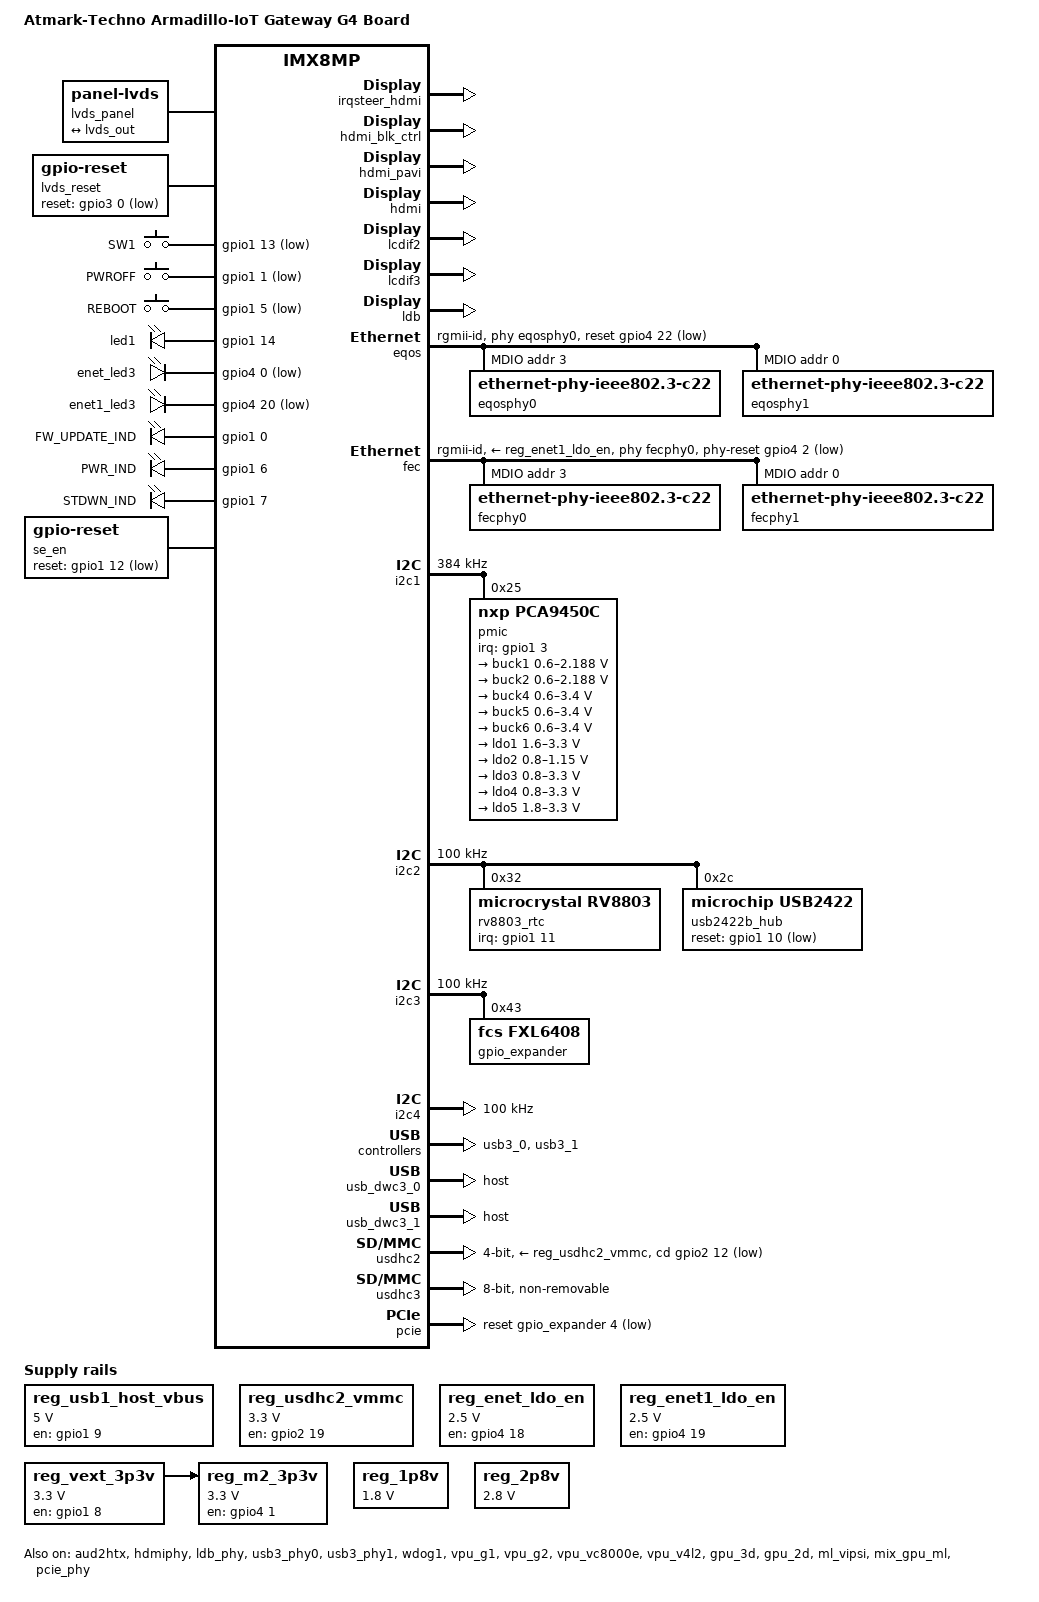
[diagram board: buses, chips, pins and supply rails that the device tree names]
// SPDX-License-Identifier: (GPL-2.0 OR MIT)
/*
 * Copyright (C) 2021 Atmark Techno, Inc. All Rights Reserved.
 */

/dts-v1/;

#include <dt-bindings/usb/pd.h>
#include <dt-bindings/net/micrel-ksz9131.h>
#include "imx8mp.dtsi"

#include "armadillo_x2-default-console.dtsi"

/ {
	model = "Atmark-Techno Armadillo-IoT Gateway G4 Board";
	compatible = "atmark,yakushima-es1", "fsl,imx8mp";

	aliases {
		rtc0 = &rv8803_rtc;
		rtc1 = &snvs_rtc;
	};

	reg_usb1_host_vbus: regulator-usb1-vbus {
		compatible = "regulator-fixed";
		regulator-name = "usb1_host_vbus";
		pinctrl-names = "default";
		pinctrl-0 = <&pinctrl_usb1_vbus>;
		regulator-min-microvolt = <5000000>;
		regulator-max-microvolt = <5000000>;
		gpio = <&gpio1 9 GPIO_ACTIVE_HIGH>;
		enable-active-high;
		regulator-always-on;
	};

	reg_usdhc2_vmmc: regulator-usdhc2 {
		compatible = "regulator-fixed";
		pinctrl-names = "default";
		pinctrl-0 = <&pinctrl_reg_usdhc2_vmmc>;
		regulator-name = "VSD_3V3";
		regulator-min-microvolt = <3300000>;
		regulator-max-microvolt = <3300000>;
		// ??? voltage-ranges = <1800 1800 3300 3300>;
		gpio = <&gpio2 19 GPIO_ACTIVE_HIGH>;
		enable-active-high;
		regulator-always-on;
		off-on-delay-us = <100000>;
	};

	reg_enet_ldo_en: regulator-enet-ldo-en {
		compatible = "regulator-fixed";
		pinctrl-names = "default";
		pinctrl-0 = <&pinctrl_reg_enet_ldo_en>;
		regulator-name = "ENET_LDO_EN";
		/* One GPIO controls three regulators(1.2V, 1.8V, 2.5V) */
		regulator-min-microvolt = <2500000>;
		regulator-max-microvolt = <2500000>;
		gpio = <&gpio4 18 GPIO_ACTIVE_HIGH>;
		enable-active-high;
		regulator-always-on;
	};

	reg_enet1_ldo_en: regulator-enet1-ldo-en {
		compatible = "regulator-fixed";
		pinctrl-names = "default";
		pinctrl-0 = <&pinctrl_reg_enet1_ldo_en>;
		regulator-name = "ENET1_LDO_EN";
		/* One GPIO controls three regulators(1.2V, 1.8V, 2.5V) */
		regulator-min-microvolt = <2500000>;
		regulator-max-microvolt = <2500000>;
		startup-delay-us = <100000>;
		gpio = <&gpio4 19 GPIO_ACTIVE_HIGH>;
		enable-active-high;
	};

	/* use HDMI(CEC), MIPI-CSI and M.2 */
	reg_vext_3p3v: regulator-vext-3p3v {
		compatible = "regulator-fixed";
		pinctrl-names = "default";
		pinctrl-0 = <&pinctrl_vext_3p3v>;
		regulator-name = "VEXT_3P3V";
		regulator-min-microvolt = <3300000>;
		regulator-max-microvolt = <3300000>;
		gpio = <&gpio1 8 GPIO_ACTIVE_HIGH>;
		enable-active-high;
		regulator-always-on;
	};

	reg_1p8v: regulator-1p8v {
		compatible = "regulator-fixed";
		regulator-name = "1P8V";
		regulator-min-microvolt = <1800000>;
		regulator-max-microvolt = <1800000>;
		regulator-always-on;
	};

	reg_2p8v: regulator-2p8v {
		compatible = "regulator-fixed";
		regulator-name = "2P8V";
		regulator-min-microvolt = <2800000>;
		regulator-max-microvolt = <2800000>;
		regulator-always-on;
	};

	reg_m2_3p3v: regulator-m2-3p3v {
		compatible = "regulator-fixed";
		regulator-name = "M2_3P3V";
		pinctrl-names = "default";
		pinctrl-0 = <&pinctrl_m2_3p3v>;
		regulator-min-microvolt = <3300000>;
		regulator-max-microvolt = <3300000>;
		gpio = <&gpio4 1 GPIO_ACTIVE_HIGH>;
		vin-supply = <&reg_vext_3p3v>;
		enable-active-high;
		regulator-always-on;
	};

	sound-hdmi {
		compatible = "fsl,imx-audio-cdnhdmi";
		model = "audio-hdmi";
		audio-cpu = <&aud2htx>;
		hdmi-out;
		constraint-rate = <44100>,
				<88200>,
				<176400>,
				<32000>,
				<48000>,
				<96000>,
				<192000>;
		status = "okay";
	};

	lvds_panel: lvds-panel {
		compatible = "panel-lvds";

		data-mapping = "vesa-24";
		width-mm = <226>;
		height-mm = <128>;

		panel-timing {
			/* NL10276BC24-21 */
			clock-frequency = <65000000>;
			hactive = <1024>;
			vactive = <768>;
			hfront-porch = <160>;
			hsync-len = <136>;
			hback-porch = <24>;
			vfront-porch = <3>;
			vsync-len = <6>;
			vback-porch = <29>;
			de-active = <1>;
		};

		port {
			panel_lvds_in: endpoint {
				remote-endpoint = <&lvds_out>;
			};
		};
	};

	lvds_reset: lvds-reset {
		compatible = "gpio-reset";
		pinctrl-names = "default";
		pinctrl-0 = <&pinctrl_lvds_reset>;
		reset-gpios = <&gpio3 0 GPIO_ACTIVE_LOW>;
		reset-delay-us = <50>;
		reset-on-init;
		#reset-cells = <0>;
	};

	gpio-keys {
		compatible = "gpio-keys";
		pinctrl-names = "default";
		pinctrl-0 = <&pinctrl_gpio_keys>;

		gpio_keys_sw1: sw1 {
			label = "SW1";
			gpios = <&gpio1 13 GPIO_ACTIVE_LOW>;
			linux,code = <KEY_PROG1>;
		};

		pwroff {
			label = "PWROFF";
			gpios = <&gpio1 1 GPIO_ACTIVE_LOW>;
			linux,code = <KEY_POWER>;
		};

		reboot {
			label = "REBOOT";
			gpios = <&gpio1 5 GPIO_ACTIVE_LOW>;
			linux,code = <KEY_RESTART>;
		};
	};

	leds {
		compatible = "gpio-leds";
		pinctrl-names = "default";
		pinctrl-0 = <&pinctrl_gpio_leds>;

		led1 {
			label = "led1";
			gpios = <&gpio1 14 GPIO_ACTIVE_HIGH>;
			default-state = "on";
		};

		enet_led3 {
			label = "enet_led3";
			gpios = <&gpio4 0 GPIO_ACTIVE_LOW>;
			linux,default-trigger = "stmmac-1:03:1Gbps";
		};

		enet1_led3 {
			label = "enet1_led3";
			gpios = <&gpio4 20 GPIO_ACTIVE_LOW>;
			linux,default-trigger = "30be0000.ethernet-1:03:1Gbps";
		};

		fw_update_ind {
			label = "FW_UPDATE_IND";
			gpios = <&gpio1 0 GPIO_ACTIVE_HIGH>;
		};

		pwr_ind {
			label = "PWR_IND";
			gpios = <&gpio1 6 GPIO_ACTIVE_HIGH>;
			default-state = "on";
		};

		stdwn_ind {
			label = "STDWN_IND";
			gpios = <&gpio1 7 GPIO_ACTIVE_HIGH>;
		};
	};

	resmem: reserved-memory {
		linux,cma {
			size = <0 0x40000000>;
			alloc-ranges = <0 0x40000000 0 0xbfffffff>;
		};
	};

	moal-params {
		host_mlme = <0x1>;
		// disable power savings
		ps_mode = <0x2>;
		auto_ds = <0x2>;
		// disable wifi direct, untested
		drv_mode = <0x3>;
		// disable mac-1 to fit power budget
		mac-1 {
			drv_mode = <0x0>;
		};

	};

	se_en: se-enable {
		compatible = "gpio-reset";
		pinctrl-names = "default";
		pinctrl-0 = <&pinctrl_se_enable>;
		reset-gpios = <&gpio1 12 GPIO_ACTIVE_LOW>;
		reset-assert-in-suspend;
	};
};

&aud2htx {
	status = "okay";
};

&irqsteer_hdmi {
	status = "okay";
};

&hdmi_blk_ctrl {
	status = "okay";
};

&hdmi_pavi {
	status = "okay";
};

&hdmi {
	status = "okay";
};

&hdmiphy {
	status = "okay";
};

&lcdif2 {
	status = "okay";
};

&lcdif3 {
	status = "okay";

	thres-low  = <1 2>;		/* (FIFO * 1 / 2) */
	thres-high = <3 4>;		/* (FIFO * 3 / 4) */
};

&ldb {
	status = "okay";

	lvds-channel@0 {
		fsl,data-mapping = "spwg";
		fsl,data-width = <24>;
		status = "okay";
		/delete-node/ port@1;

		port@1 {
			reg = <1>;

			lvds_out: endpoint {
				remote-endpoint = <&panel_lvds_in>;
			};
		};
	};
};

&ldb_phy {
	status = "okay";
};

&eqos {
	pinctrl-names = "default", "sleep";
	pinctrl-0 = <&pinctrl_eqos>;
	pinctrl-1 = <&pinctrl_eqos_sleep>;
	phy-mode = "rgmii-id";
	phy-handle = <&eqosphy0>;
	snps,reset-gpio = <&gpio4 22 GPIO_ACTIVE_LOW>;
	snps,reset-active-low;
	snps,reset-delays-us = <0 15000 150000>; // hold reset 15ms and wait 150ms after reset for reinit
	st,disable_dma_vlhash = <1>;
	status = "okay";

	mdio {
		compatible = "snps,dwmac-mdio";
		#address-cells = <1>;
		#size-cells = <0>;
		eqosphy0: eqos-phy@3 {
			compatible = "ethernet-phy-ieee802.3-c22";
			eee-broken-1000t;
			eee-broken-100tx;
			reg = <3>;
			micrel,ksz9031-led1-mode = <KSZ9131_LINK_ACTIVITY>;
			micrel,ksz9031-led2-mode = <KSZ9131_LINK100>;
		};

		eqosphy1: eqos-phy@0 {
			compatible = "ethernet-phy-ieee802.3-c22";
			eee-broken-1000t;
			eee-broken-100tx;
			reg = <0>;

			/* marvell,reg-init = <reg-page reg mask value>; */
			marvell,reg-init =
				<3 16 0xff00 0x73>,
				<3 17 0xfff0 0xa>,
				<18 20 0xfff8 0x0>;
		};
	};
};

&fec {
	pinctrl-names = "default", "sleep";
	pinctrl-0 = <&pinctrl_fec>;
	pinctrl-1 = <&pinctrl_fec_sleep>;
	phy-mode = "rgmii-id";
	phy-handle = <&fecphy0>;
	phy-supply = <&reg_enet1_ldo_en>;
	fsl,magic-packet;
	phy-reset-gpios = <&gpio4 2 GPIO_ACTIVE_LOW>;
	phy-reset-duration = <15>;
	phy-reset-post-delay = <150>;
	status = "okay";

	mdio {
		#address-cells = <1>;
		#size-cells = <0>;

		fecphy0: fec-phy@3 {
			compatible = "ethernet-phy-ieee802.3-c22";
			reg = <3>;
			micrel,ksz9031-led1-mode = <KSZ9131_LINK_ACTIVITY>;
			micrel,ksz9031-led2-mode = <KSZ9131_LINK100>;
		};

		fecphy1: fec-phy@0 {
			compatible = "ethernet-phy-ieee802.3-c22";
			reg = <0>;

			/* marvell,reg-init = <reg-page reg mask value>; */
			marvell,reg-init =
				<3 16 0xff00 0x73>,
				<3 17 0xfff0 0xa>,
				<18 20 0xfff8 0x0>;
		};
	};
};

&i2c1 {
	clock-frequency = <384000>;
	pinctrl-names = "default";
	pinctrl-0 = <&pinctrl_i2c1>;
	status = "okay";

	pmic: pca9450@25 {
		reg = <0x25>;
		compatible = "nxp,pca9450c";
		/* PMIC PCA9450 PMIC_nINT GPIO1_IO3 */
		pinctrl-0 = <&pinctrl_pmic>;
		interrupt-parent = <&gpio1>;
		interrupts = <3 GPIO_ACTIVE_LOW>;

		regulators {
			buck1: BUCK1 {
				regulator-name = "BUCK1";
				regulator-min-microvolt = <600000>;
				regulator-max-microvolt = <2187500>;
				regulator-boot-on;
				regulator-always-on;
				regulator-ramp-delay = <3125>;
			};

			buck2: BUCK2 {
				regulator-name = "BUCK2";
				regulator-min-microvolt = <600000>;
				regulator-max-microvolt = <2187500>;
				regulator-boot-on;
				regulator-always-on;
				regulator-ramp-delay = <3125>;
				nxp,dvs-run-voltage = <950000>;
				nxp,dvs-standby-voltage = <850000>;
			};

			buck4: BUCK4 {
				regulator-name = "BUCK4";
				regulator-min-microvolt = <600000>;
				regulator-max-microvolt = <3400000>;
				regulator-boot-on;
				regulator-always-on;
			};

			buck5: BUCK5 {
				regulator-name = "BUCK5";
				regulator-min-microvolt = <600000>;
				regulator-max-microvolt = <3400000>;
				regulator-boot-on;
				regulator-always-on;
			};

			buck6: BUCK6 {
				regulator-name = "BUCK6";
				regulator-min-microvolt = <600000>;
				regulator-max-microvolt = <3400000>;
				regulator-boot-on;
				regulator-always-on;
			};

			ldo1: LDO1 {
				regulator-name = "LDO1";
				regulator-min-microvolt = <1600000>;
				regulator-max-microvolt = <3300000>;
				regulator-boot-on;
				regulator-always-on;
			};

			ldo2: LDO2 {
				regulator-name = "LDO2";
				regulator-min-microvolt = <800000>;
				regulator-max-microvolt = <1150000>;
				regulator-boot-on;
				regulator-always-on;
			};

			ldo3: LDO3 {
				regulator-name = "LDO3";
				regulator-min-microvolt = <800000>;
				regulator-max-microvolt = <3300000>;
				regulator-boot-on;
				regulator-always-on;
			};

			ldo4: LDO4 {
				regulator-name = "LDO4";
				regulator-min-microvolt = <800000>;
				regulator-max-microvolt = <3300000>;
				regulator-boot-on;
				regulator-always-on;
			};

			ldo5: LDO5 {
				regulator-name = "LDO5";
				regulator-min-microvolt = <1800000>;
				regulator-max-microvolt = <3300000>;
				regulator-boot-on;
				regulator-always-on;
			};
		};
	};
};

&i2c2 {
	clock-frequency = <100000>;
	pinctrl-names = "default";
	pinctrl-0 = <&pinctrl_i2c2>;
	status = "okay";

	rv8803_rtc: rtc@32 {
		pinctrl-names = "default";
		pinctrl-0 = <&pinctrl_rtc_gpio>;

		compatible = "microcrystal,rv8803";
		reg = <0x32>;
		interrupt-parent = <&gpio1>;
		interrupts = <11 GPIO_ACTIVE_LOW>;
		wakeup-source;
	};

	usb2422b_hub: hub@2c {
		pinctrl-names = "default";
		pinctrl-0 = <&pinctrl_usb2422_reset>;

		compatible = "microchip,usb2422";
		reg = <0x2c>;
		reset-gpios = <&gpio1 10 GPIO_ACTIVE_LOW>;
	};
};

&i2c3 {
	clock-frequency = <100000>;
	pinctrl-names = "default";
	pinctrl-0 = <&pinctrl_i2c3>;
	status = "okay";

	gpio_expander: gpio@43 {
		gpio-controller;
		#gpio-cells = <2>;
		reg = <0x43>;
		compatible = "fcs,fxl6408";
	};
};

&i2c4 {
	clock-frequency = <100000>;
	pinctrl-names = "default";
	pinctrl-0 = <&pinctrl_i2c4>;
	status = "okay";
};

&sdma2 {
	status = "okay";
};

&usb3_phy0 {
	fsl,phy-tx-preemp-amp-tune = <0x3>;

	status = "okay";
};

&usb3_0 {
	status = "okay";
};

&usb_dwc3_0 {
	dr_mode = "host";
	status = "okay";
};

&usb3_phy1 {
	status = "okay";
};

&usb3_1 {
	status = "okay";
};

&usb_dwc3_1 {
	dr_mode = "host";
	status = "okay";
};

&usdhc2 {
	assigned-clocks = <&clk IMX8MP_CLK_USDHC2>;
	assigned-clock-rates = <400000000>;
	pinctrl-names = "default", "state_100mhz", "state_200mhz", "sleep";
	pinctrl-0 = <&pinctrl_usdhc2>, <&pinctrl_usdhc2_gpio>;
	pinctrl-1 = <&pinctrl_usdhc2_100mhz>, <&pinctrl_usdhc2_gpio>;
	pinctrl-2 = <&pinctrl_usdhc2_200mhz>, <&pinctrl_usdhc2_gpio>;
	pinctrl-3 = <&pinctrl_usdhc2_sleep>, <&pinctrl_usdhc2_gpio>;
	cd-gpios = <&gpio2 12 GPIO_ACTIVE_LOW>;
	vmmc-supply = <&reg_usdhc2_vmmc>;
	bus-width = <4>;
	/* SDR50/104 is not supported in order to comply with the VCCI
	 * Class B Compliance (RF leakage at 1GHz when used in some case)
	 */
	sdhci-caps-mask = <0x3 0x0>;
	status = "okay";
};

&usdhc3 {
	assigned-clocks = <&clk IMX8MP_CLK_USDHC3>;
	assigned-clock-rates = <400000000>;
	pinctrl-names = "default", "state_100mhz", "state_200mhz", "sleep";
	pinctrl-0 = <&pinctrl_usdhc3>;
	pinctrl-1 = <&pinctrl_usdhc3_100mhz>;
	pinctrl-2 = <&pinctrl_usdhc3_200mhz>;
	pinctrl-3 = <&pinctrl_usdhc3_sleep>;
	bus-width = <8>;
	non-removable;
	status = "okay";
};

&wdog1 {
	pinctrl-names = "default";
	pinctrl-0 = <&pinctrl_wdog>;
	fsl,ext-reset-output;
	status = "okay";
};

&iomuxc {
	pinctrl-names = "default";
	pinctrl-0 = <
		&pinctrl_hog
		&pinctrl_expansion_interfacehog
		&pinctrl_customize
	>;

	pinctrl_hog: hoggrp {
		fsl,pins = <
			MX8MP_IOMUXC_HDMI_DDC_SCL__HDMIMIX_HDMI_SCL	0x40000034
			MX8MP_IOMUXC_HDMI_DDC_SDA__HDMIMIX_HDMI_SDA	0x40000034
			MX8MP_IOMUXC_HDMI_HPD__HDMIMIX_HDMI_HPD		0x40000034
			MX8MP_IOMUXC_HDMI_CEC__HDMIMIX_HDMI_CEC		0x40000034
		>;
	};

	pinctrl_expansion_interfacehog: expansion_interfacehoggrp {
		/* this group left empty for at-dtweb expansion GPIOs */
	};

	pinctrl_customize: customizegrp {
		/* empty group defined for easier customizing: override this for your pin configurations */
	};

	/* Memo for pinctrl config:
	 * 0x2/6 = stronger driving field
	 *  0x10 = fast slew rate
	 *  0x20 = open drain enable
	 *  0x40 = pull up
	 *  0x80 = schmitt trigger input
	 * 0x100 = pull enable
	 * 0x40000000 = SION enable
	 *
	 * SION = able to get input value of gpio regardless its mux setting
	 */
	pinctrl_eqos: eqosgrp {
		fsl,pins = <
			MX8MP_IOMUXC_ENET_MDC__ENET_QOS_MDC		0x2
			MX8MP_IOMUXC_ENET_MDIO__ENET_QOS_MDIO		0x2
			MX8MP_IOMUXC_ENET_RD0__ENET_QOS_RGMII_RD0	0x6
			MX8MP_IOMUXC_ENET_RD1__ENET_QOS_RGMII_RD1	0x6
			MX8MP_IOMUXC_ENET_RD2__ENET_QOS_RGMII_RD2	0x6
			MX8MP_IOMUXC_ENET_RD3__ENET_QOS_RGMII_RD3	0x6
			MX8MP_IOMUXC_ENET_RXC__CCM_ENET_QOS_CLOCK_GENERATE_RX_CLK	0x106
			MX8MP_IOMUXC_ENET_RX_CTL__ENET_QOS_RGMII_RX_CTL	0x106
			MX8MP_IOMUXC_ENET_TD0__ENET_QOS_RGMII_TD0	0x142
			MX8MP_IOMUXC_ENET_TD1__ENET_QOS_RGMII_TD1	0x142
			MX8MP_IOMUXC_ENET_TD2__ENET_QOS_RGMII_TD2	0x142
			MX8MP_IOMUXC_ENET_TD3__ENET_QOS_RGMII_TD3	0x142
			MX8MP_IOMUXC_ENET_TX_CTL__ENET_QOS_RGMII_TX_CTL	0x142
			MX8MP_IOMUXC_ENET_TXC__CCM_ENET_QOS_CLOCK_GENERATE_TX_CLK	0x142
			MX8MP_IOMUXC_SAI2_RXC__GPIO4_IO22		0x152 // RST
			MX8MP_IOMUXC_SAI1_RXFS__GPIO4_IO00		0x152 // ENET_LED3
		>;
	};

	pinctrl_eqos_sleep: eqosslpgrp {
		fsl,pins = <
			MX8MP_IOMUXC_ENET_MDC__GPIO1_IO16	0x101
			MX8MP_IOMUXC_ENET_MDIO__GPIO1_IO17	0x41
			MX8MP_IOMUXC_ENET_RD0__GPIO1_IO26	0x101
			MX8MP_IOMUXC_ENET_RD1__GPIO1_IO27	0x101
			MX8MP_IOMUXC_ENET_RD2__GPIO1_IO28	0x101
			MX8MP_IOMUXC_ENET_RD3__GPIO1_IO29	0x101
			MX8MP_IOMUXC_ENET_RXC__GPIO1_IO25	0x101
			MX8MP_IOMUXC_ENET_RX_CTL__GPIO1_IO24	0x101
			MX8MP_IOMUXC_ENET_TD0__GPIO1_IO21	0x101
			MX8MP_IOMUXC_ENET_TD1__GPIO1_IO20	0x101
			MX8MP_IOMUXC_ENET_TD2__GPIO1_IO19	0x101
			MX8MP_IOMUXC_ENET_TD3__GPIO1_IO18	0x101
			MX8MP_IOMUXC_ENET_TX_CTL__GPIO1_IO22	0x101
			MX8MP_IOMUXC_ENET_TXC__GPIO1_IO23	0x101
			MX8MP_IOMUXC_SAI2_RXC__GPIO4_IO22	0x152 // RST
		>;
	};

	pinctrl_fec: fecgrp {
		fsl,pins = <
			MX8MP_IOMUXC_SAI1_RXD2__ENET1_MDC		0x2
			MX8MP_IOMUXC_SAI1_RXD3__ENET1_MDIO		0x2
			MX8MP_IOMUXC_SAI1_RXD4__ENET1_RGMII_RD0		0x106
			MX8MP_IOMUXC_SAI1_RXD5__ENET1_RGMII_RD1		0x106
			MX8MP_IOMUXC_SAI1_RXD6__ENET1_RGMII_RD2		0x106
			MX8MP_IOMUXC_SAI1_RXD7__ENET1_RGMII_RD3		0x106
			MX8MP_IOMUXC_SAI1_TXC__ENET1_RGMII_RXC		0x106
			MX8MP_IOMUXC_SAI1_TXFS__ENET1_RGMII_RX_CTL	0x106
			MX8MP_IOMUXC_SAI1_TXD0__ENET1_RGMII_TD0		0x142
			MX8MP_IOMUXC_SAI1_TXD1__ENET1_RGMII_TD1		0x142
			MX8MP_IOMUXC_SAI1_TXD2__ENET1_RGMII_TD2		0x142
			MX8MP_IOMUXC_SAI1_TXD3__ENET1_RGMII_TD3		0x142
			MX8MP_IOMUXC_SAI1_TXD4__ENET1_RGMII_TX_CTL	0x142
			MX8MP_IOMUXC_SAI1_TXD5__ENET1_RGMII_TXC		0x142
			MX8MP_IOMUXC_SAI1_RXD0__GPIO4_IO02		0x152 // RST
			MX8MP_IOMUXC_SAI1_MCLK__GPIO4_IO20		0x152 // ENET1_LED3
		>;
	};

	pinctrl_fec_sleep: fecslpgrp {
		fsl,pins = <
			MX8MP_IOMUXC_SAI1_RXD2__GPIO4_IO04	0x101
			/* During sleep, SAI1_RXD3's hardware pull-up
			 * is not effective. That should be pulled down
			 * by pinctrl to properly enforce pin status.
			 */
			MX8MP_IOMUXC_SAI1_RXD3__GPIO4_IO05	0x101
			MX8MP_IOMUXC_SAI1_RXD4__GPIO4_IO06	0x101
			MX8MP_IOMUXC_SAI1_RXD5__GPIO4_IO07	0x101
			MX8MP_IOMUXC_SAI1_RXD6__GPIO4_IO08	0x101
			MX8MP_IOMUXC_SAI1_RXD7__GPIO4_IO09	0x101
			MX8MP_IOMUXC_SAI1_TXC__GPIO4_IO11	0x101
			MX8MP_IOMUXC_SAI1_TXFS__GPIO4_IO10	0x101
			MX8MP_IOMUXC_SAI1_TXD0__GPIO4_IO12	0x101
			MX8MP_IOMUXC_SAI1_TXD1__GPIO4_IO13	0x101
			MX8MP_IOMUXC_SAI1_TXD2__GPIO4_IO14	0x101
			MX8MP_IOMUXC_SAI1_TXD3__GPIO4_IO15	0x101
			MX8MP_IOMUXC_SAI1_TXD4__GPIO4_IO16	0x101
			MX8MP_IOMUXC_SAI1_TXD5__GPIO4_IO17	0x101
			MX8MP_IOMUXC_SAI1_RXD0__GPIO4_IO02	0x152 // RST
			MX8MP_IOMUXC_SAI1_MCLK__GPIO4_IO20	0x132 // ENET1_LED3
		>;
	};

	pinctrl_i2c1: i2c1grp {
		fsl,pins = <
			MX8MP_IOMUXC_I2C1_SCL__I2C1_SCL		0x400000e2
			MX8MP_IOMUXC_I2C1_SDA__I2C1_SDA		0x400000e2
		>;
	};

	pinctrl_i2c2: i2c2grp {
		fsl,pins = <
			MX8MP_IOMUXC_I2C2_SCL__I2C2_SCL			0x400000e2
			MX8MP_IOMUXC_I2C2_SDA__I2C2_SDA			0x400000e2
		>;
	};

	pinctrl_i2c3: i2c3grp {
		fsl,pins = <
			MX8MP_IOMUXC_I2C3_SCL__I2C3_SCL			0x400000e2
			MX8MP_IOMUXC_I2C3_SDA__I2C3_SDA			0x400000e2
		>;
	};

	pinctrl_i2c4: i2c4grp {
		fsl,pins = <
			MX8MP_IOMUXC_I2C4_SCL__I2C4_SCL			0x400000e2
			MX8MP_IOMUXC_I2C4_SDA__I2C4_SDA			0x400000e2
		>;
	};

	pinctrl_vext_3p3v: vext_3p3v_grp {
		fsl,pins = <
			MX8MP_IOMUXC_GPIO1_IO08__GPIO1_IO08	0x40000100
		>;
	};

	pinctrl_m2_3p3v: m2_3p3v_grp {
		fsl,pins = <
			MX8MP_IOMUXC_SAI1_RXC__GPIO4_IO01	0x40000000
		>;
	};

	pinctrl_lvds_reset: lvds_reset_grp {
		fsl,pins = <
			MX8MP_IOMUXC_NAND_ALE__GPIO3_IO00	0x40000100
		>;
	};

	pinctrl_gpio_keys: gpio_keys {
		fsl,pins = <
			MX8MP_IOMUXC_GPIO1_IO13__GPIO1_IO13	0x400001c0 /* SW1 */
			MX8MP_IOMUXC_GPIO1_IO01__GPIO1_IO01	0x400001c0 /* PWROFF */
			MX8MP_IOMUXC_GPIO1_IO05__GPIO1_IO05	0x400001c0 /* REBOOT */
		>;
	};

	pinctrl_gpio_leds: gpio_leds {
		fsl,pins = <
			MX8MP_IOMUXC_GPIO1_IO14__GPIO1_IO14	0x152 /* led1 */
			MX8MP_IOMUXC_GPIO1_IO00__GPIO1_IO00	0x152 /* FW_UPDATE_IND */
			MX8MP_IOMUXC_GPIO1_IO06__GPIO1_IO06	0x152 /* PWR_IND */
			MX8MP_IOMUXC_GPIO1_IO07__GPIO1_IO07	0x152 /* STDWN_IND */
		>;
	};

	pinctrl_pmic: pmicirq {
		fsl,pins = <
			MX8MP_IOMUXC_GPIO1_IO03__GPIO1_IO03	0x141
		>;
	};

	pinctrl_usb1_vbus: usb1grp {
		fsl,pins = <
			MX8MP_IOMUXC_GPIO1_IO09__GPIO1_IO09	0x40000000
		>;
	};

	pinctrl_rtc_gpio: rtc_gpio {
		fsl,pins = <
			MX8MP_IOMUXC_GPIO1_IO11__GPIO1_IO11	0x40000140
		>;
	};

	pinctrl_usb2422_reset: usb2grp {
		fsl,pins = <
			MX8MP_IOMUXC_GPIO1_IO10__GPIO1_IO10	0x40000000
		>;
	};

	pinctrl_reg_usdhc2_vmmc: regusdhc2vmmcgrp {
		fsl,pins = <
			MX8MP_IOMUXC_SD2_RESET_B__GPIO2_IO19	0x41
		>;
	};

	pinctrl_usdhc2_gpio: usdhc2grp-gpio {
		fsl,pins = <
			MX8MP_IOMUXC_SD2_CD_B__GPIO2_IO12	0x1c4
		>;
	};

	pinctrl_usdhc2: usdhc2grp {
		fsl,pins = <
			MX8MP_IOMUXC_SD2_CLK__USDHC2_CLK	0x90
			MX8MP_IOMUXC_SD2_CMD__USDHC2_CMD	0xd0
			MX8MP_IOMUXC_SD2_DATA0__USDHC2_DATA0	0xd0
			MX8MP_IOMUXC_SD2_DATA1__USDHC2_DATA1	0xd0
			MX8MP_IOMUXC_SD2_DATA2__USDHC2_DATA2	0xd0
			MX8MP_IOMUXC_SD2_DATA3__USDHC2_DATA3	0xd0
			MX8MP_IOMUXC_GPIO1_IO04__USDHC2_VSELECT	0xc1
		>;
	};

	pinctrl_usdhc2_100mhz: usdhc2grp-100mhz {
		fsl,pins = <
			MX8MP_IOMUXC_SD2_CLK__USDHC2_CLK	0x90
			MX8MP_IOMUXC_SD2_CMD__USDHC2_CMD	0xd0
			MX8MP_IOMUXC_SD2_DATA0__USDHC2_DATA0	0xd0
			MX8MP_IOMUXC_SD2_DATA1__USDHC2_DATA1	0xd0
			MX8MP_IOMUXC_SD2_DATA2__USDHC2_DATA2	0xd0
			MX8MP_IOMUXC_SD2_DATA3__USDHC2_DATA3	0xd0
			MX8MP_IOMUXC_GPIO1_IO04__USDHC2_VSELECT 0xc1
		>;
	};

	pinctrl_usdhc2_200mhz: usdhc2grp-200mhz {
		fsl,pins = <
			MX8MP_IOMUXC_SD2_CLK__USDHC2_CLK	0x96
			MX8MP_IOMUXC_SD2_CMD__USDHC2_CMD	0xd4
			MX8MP_IOMUXC_SD2_DATA0__USDHC2_DATA0	0xd4
			MX8MP_IOMUXC_SD2_DATA1__USDHC2_DATA1	0xd4
			MX8MP_IOMUXC_SD2_DATA2__USDHC2_DATA2	0xd4
			MX8MP_IOMUXC_SD2_DATA3__USDHC2_DATA3	0xd4
			MX8MP_IOMUXC_GPIO1_IO04__USDHC2_VSELECT 0xc1
		>;
	};

	pinctrl_usdhc2_sleep: usdhc2grp-sleep {
		fsl,pins = <
			MX8MP_IOMUXC_SD2_CLK__GPIO2_IO13	0x41
			MX8MP_IOMUXC_SD2_CMD__GPIO2_IO14	0x41
			MX8MP_IOMUXC_SD2_DATA0__GPIO2_IO15	0x41
			MX8MP_IOMUXC_SD2_DATA1__GPIO2_IO16	0x41
			MX8MP_IOMUXC_SD2_DATA2__GPIO2_IO17	0x41
			MX8MP_IOMUXC_SD2_DATA3__GPIO2_IO18	0x41
			MX8MP_IOMUXC_GPIO1_IO04__USDHC2_VSELECT 0xc1
		>;
	};

	pinctrl_usdhc3: usdhc3grp {
		fsl,pins = <
			MX8MP_IOMUXC_NAND_WE_B__USDHC3_CLK		0x190
			MX8MP_IOMUXC_NAND_WP_B__USDHC3_CMD		0x1d0
			MX8MP_IOMUXC_NAND_DATA04__USDHC3_DATA0		0x1d0
			MX8MP_IOMUXC_NAND_DATA05__USDHC3_DATA1		0x1d0
			MX8MP_IOMUXC_NAND_DATA06__USDHC3_DATA2		0x1d0
			MX8MP_IOMUXC_NAND_DATA07__USDHC3_DATA3		0x1d0
			MX8MP_IOMUXC_NAND_RE_B__USDHC3_DATA4		0x1d0
			MX8MP_IOMUXC_NAND_CE2_B__USDHC3_DATA5		0x1d0
			MX8MP_IOMUXC_NAND_CE3_B__USDHC3_DATA6		0x1d0
			MX8MP_IOMUXC_NAND_CLE__USDHC3_DATA7		0x1d0
			MX8MP_IOMUXC_NAND_CE1_B__USDHC3_STROBE		0x190
			MX8MP_IOMUXC_NAND_READY_B__USDHC3_RESET_B	0x190
		>;
	};

	pinctrl_usdhc3_100mhz: usdhc3grp-100mhz {
		fsl,pins = <
			MX8MP_IOMUXC_NAND_WE_B__USDHC3_CLK		0x194
			MX8MP_IOMUXC_NAND_WP_B__USDHC3_CMD		0x1d4
			MX8MP_IOMUXC_NAND_DATA04__USDHC3_DATA0		0x1d4
			MX8MP_IOMUXC_NAND_DATA05__USDHC3_DATA1		0x1d4
			MX8MP_IOMUXC_NAND_DATA06__USDHC3_DATA2		0x1d4
			MX8MP_IOMUXC_NAND_DATA07__USDHC3_DATA3		0x1d4
			MX8MP_IOMUXC_NAND_RE_B__USDHC3_DATA4		0x1d4
			MX8MP_IOMUXC_NAND_CE2_B__USDHC3_DATA5		0x1d4
			MX8MP_IOMUXC_NAND_CE3_B__USDHC3_DATA6		0x1d4
			MX8MP_IOMUXC_NAND_CLE__USDHC3_DATA7		0x1d4
			MX8MP_IOMUXC_NAND_CE1_B__USDHC3_STROBE		0x194
			MX8MP_IOMUXC_NAND_READY_B__USDHC3_RESET_B	0x194
		>;
	};

	pinctrl_usdhc3_200mhz: usdhc3grp-200mhz {
		fsl,pins = <
			MX8MP_IOMUXC_NAND_WE_B__USDHC3_CLK		0x196
			MX8MP_IOMUXC_NAND_WP_B__USDHC3_CMD		0x1d6
			MX8MP_IOMUXC_NAND_DATA04__USDHC3_DATA0		0x1d6
			MX8MP_IOMUXC_NAND_DATA05__USDHC3_DATA1		0x1d6
			MX8MP_IOMUXC_NAND_DATA06__USDHC3_DATA2		0x1d6
			MX8MP_IOMUXC_NAND_DATA07__USDHC3_DATA3		0x1d6
			MX8MP_IOMUXC_NAND_RE_B__USDHC3_DATA4		0x1d6
			MX8MP_IOMUXC_NAND_CE2_B__USDHC3_DATA5		0x1d6
			MX8MP_IOMUXC_NAND_CE3_B__USDHC3_DATA6		0x1d6
			MX8MP_IOMUXC_NAND_CLE__USDHC3_DATA7		0x1d6
			MX8MP_IOMUXC_NAND_CE1_B__USDHC3_STROBE		0x196
			MX8MP_IOMUXC_NAND_READY_B__USDHC3_RESET_B	0x196

		>;
	};

	pinctrl_usdhc3_sleep: usdhc3grp-sleep {
		fsl,pins = <
			MX8MP_IOMUXC_NAND_WE_B__USDHC3_CLK		0x41
			MX8MP_IOMUXC_NAND_WP_B__USDHC3_CMD		0x41
			MX8MP_IOMUXC_NAND_DATA04__USDHC3_DATA0		0x41
			MX8MP_IOMUXC_NAND_DATA05__USDHC3_DATA1		0x41
			MX8MP_IOMUXC_NAND_DATA06__USDHC3_DATA2		0x41
			MX8MP_IOMUXC_NAND_DATA07__USDHC3_DATA3		0x41
			MX8MP_IOMUXC_NAND_RE_B__USDHC3_DATA4		0x41
			MX8MP_IOMUXC_NAND_CE2_B__USDHC3_DATA5		0x41
			MX8MP_IOMUXC_NAND_CE3_B__USDHC3_DATA6		0x41
			MX8MP_IOMUXC_NAND_CLE__USDHC3_DATA7		0x41
			MX8MP_IOMUXC_NAND_CE1_B__USDHC3_STROBE		0x41
			MX8MP_IOMUXC_NAND_READY_B__USDHC3_RESET_B	0x191

		>;
	};

	pinctrl_reg_enet_ldo_en: reg-enet-ldo-engrp {
		fsl,pins = <
			MX8MP_IOMUXC_SAI1_TXD6__GPIO4_IO18	0x41
		>;
	};

	pinctrl_reg_enet1_ldo_en: reg-enet1-ldo-engrp {
		fsl,pins = <
			MX8MP_IOMUXC_SAI1_TXD7__GPIO4_IO19	0x41
		>;
	};

	pinctrl_wdog: wdoggrp {
		fsl,pins = <
			MX8MP_IOMUXC_GPIO1_IO02__WDOG1_WDOG_B	0xc6
		>;
	};

	pinctrl_se_enable: seenablegrp {
		fsl,pins = <
			MX8MP_IOMUXC_GPIO1_IO12__GPIO1_IO12		0x0
		>;
	};
};

&vpu_g1 {
	status = "okay";
};

&vpu_g2 {
	status = "okay";
};

&vpu_vc8000e {
	status = "okay";
};

&vpu_v4l2 {
	status = "okay";
};

&gpu_3d {
	status = "okay";
};

&gpu_2d {
	status = "okay";
};

&ml_vipsi {
	status = "okay";
};

&mix_gpu_ml {
	status = "okay";
};

&pcie{
	disable-gpio = <&gpio_expander 2 GPIO_ACTIVE_LOW>;
	disable2-gpio = <&gpio_expander 3 GPIO_ACTIVE_LOW>;
	reset-gpio = <&gpio_expander 4 GPIO_ACTIVE_LOW>;
	ext_osc = <0>;
	clocks = <&clk IMX8MP_CLK_HSIO_ROOT>,
		 <&clk IMX8MP_CLK_PCIE_AUX>,
		 <&clk IMX8MP_CLK_HSIO_AXI>,
		 <&clk IMX8MP_CLK_PCIE_ROOT>;
	clock-names = "pcie", "pcie_aux", "pcie_phy", "pcie_bus";
	assigned-clocks = <&clk IMX8MP_CLK_HSIO_AXI>,
			  <&clk IMX8MP_CLK_PCIE_AUX>;
	assigned-clock-rates = <500000000>, <10000000>;
	assigned-clock-parents = <&clk IMX8MP_SYS_PLL2_500M>,
				 <&clk IMX8MP_SYS_PLL2_50M>;
	status = "okay";
};

&pcie_ep{
	ext_osc = <0>;
	clocks = <&clk IMX8MP_CLK_HSIO_ROOT>,
		 <&clk IMX8MP_CLK_PCIE_AUX>,
		 <&clk IMX8MP_CLK_HSIO_AXI>,
		 <&clk IMX8MP_CLK_PCIE_ROOT>;
	clock-names = "pcie", "pcie_aux", "pcie_phy", "pcie_bus";
	assigned-clocks = <&clk IMX8MP_CLK_HSIO_AXI>,
			  <&clk IMX8MP_CLK_PCIE_AUX>;
	assigned-clock-rates = <500000000>, <10000000>;
	assigned-clock-parents = <&clk IMX8MP_SYS_PLL2_500M>,
				 <&clk IMX8MP_SYS_PLL2_50M>;
	status = "disabled";
};

&pcie_phy{
	ext_osc = <0>;
	status = "okay";
};

&A53_0 {
	cpu-supply = <&buck2>;
};

&A53_1 {
	cpu-supply = <&buck2>;
};

&A53_2 {
	cpu-supply = <&buck2>;
};

&A53_3 {
	cpu-supply = <&buck2>;
};

&cpu_alert0 {
	temperature = <105000>;
};

&cpu_crit0 {
	temperature = <105000>;
};

&soc_alert0 {
	temperature = <105000>;
};

&soc_crit0 {
	temperature = <105000>;
};

&gpio1 {
	gpio-line-names =
		/* GPIO1_IO00 - 03 */ "CON12_7" /* FW_UPDATE_IND */, "CON12_1" /* PWROFF */, "", "",
		/* GPIO1_IO04 - 07 */ "", "CON12_3" /* REBOOT */,
				      "CON12_11" /* PWR_IND */, "CON12_9" /* STDWN_IND */,
		/* GPIO1_IO08 - 11 */ "", "", "", "",
		/* GPIO1_IO12 - 15 */ "", "SW1", "LED3" /* led1 in software... */, "CON11_24",
		/* GPIO1_IO16 - 19 */ "", "", "", "",
		/* GPIO1_IO20 - 23 */ "", "", "", "",
		/* GPIO1_IO24 - 27 */ "", "", "", "",
		/* GPIO1_IO28 - 31 */ "", "", "", "";
};

&gpio2 {
	gpio-line-names =
		/* GPIO2_IO00 - 03 */ "", "", "", "",
		/* GPIO2_IO04 - 07 */ "", "", "", "",
		/* GPIO2_IO08 - 11 */ "CON12_13", "", "", "CON12_2",
		/* GPIO2_IO12 - 15 */ "", "", "", "",
		/* GPIO2_IO16 - 19 */ "", "", "", "",
		/* GPIO2_IO20 - 23 */ "", "", "", "",
		/* GPIO2_IO24 - 27 */ "", "", "", "",
		/* GPIO2_IO28 - 31 */ "", "", "", "";
};

&gpio3 {
	gpio-line-names =
		/* GPIO3_IO00 - 03 */ "CON9_25", "CON9_26", "", "",
		/* GPIO3_IO04 - 07 */ "", "", "", "",
		/* GPIO3_IO08 - 11 */ "CON12_10", "CON12_12", "", "",
		/* GPIO3_IO12 - 15 */ "", "", "CON12_14", "",
		/* GPIO3_IO16 - 19 */ "", "", "", "CON11_29",
		/* GPIO3_IO20 - 23 */ "CON11_17", "CON11_19", "CON11_21", "CON11_23",
		/* GPIO3_IO24 - 27 */ "CON11_25", "CON11_27", "", "",
		/* GPIO3_IO28 - 31 */ "", "", "", "";
};

&gpio4 {
	gpio-line-names =
		/* GPIO4_IO00 - 03 */ "", "", "", "",
		/* GPIO4_IO04 - 07 */ "", "", "", "",
		/* GPIO4_IO08 - 11 */ "", "", "", "",
		/* GPIO4_IO12 - 15 */ "", "", "", "",
		/* GPIO4_IO16 - 19 */ "", "", "", "",
		/* GPIO4_IO20 - 23 */ "", "", "", "",
		/* GPIO4_IO24 - 27 */ "", "", "", "CON12_4",
		/* GPIO4_IO28 - 31 */ "CON12_6", "CON12_8", "CON11_20", "CON11_14";
};

&gpio5 {
	gpio-line-names =
		/* GPIO5_IO00 - 03 */ "CON11_16", "CON11_18", "CON11_22", "CON9_27",
		/* GPIO5_IO04 - 07 */ "CON9_28", "", "CON11_10", "CON11_8",
		/* GPIO5_IO08 - 11 */ "CON11_6", "CON11_12", "CON11_13", "CON11_11",
		/* GPIO5_IO12 - 15 */ "CON11_9", "CON11_15", "", "",
		/* GPIO5_IO16 - 19 */ "", "", "", "",
		/* GPIO5_IO20 - 23 */ "", "", "", "",
		/* GPIO5_IO24 - 27 */ "", "", "", "",
		/* GPIO5_IO28 - 31 */ "", "", "", "";
};

&gpio_expander {
	gpio-line-names =
		/* FXL6408_00 - 03 */ "", "", "", "",
		/* FXL6408_04 - 07 */ "", "", "", "";
};
